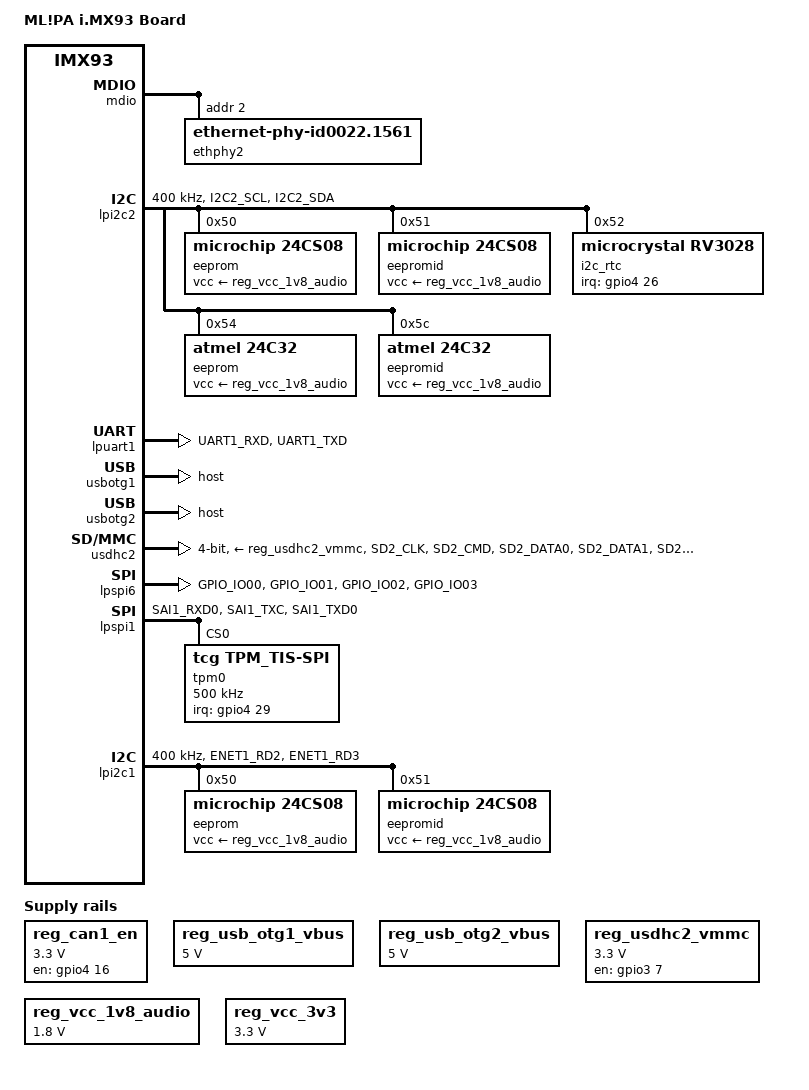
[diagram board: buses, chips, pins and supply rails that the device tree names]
// SPDX-License-Identifier: (GPL-2.0+ OR MIT)
/*
 * Copyright (C) 2023 PHYTEC Messtechnik GmbH
 * Author: Wadim Egorov <w.egorov@phytec.de>, Christoph Stoidner <c.stoidner@phytec.de>
 * Copyright (C) 2024 Mathieu Othacehe <m.othacehe@gmail.com>
 *
 * Product homepage:
 * phyBOARD-Segin carrier board is reused for the i.MX93 design.
 * https://www.phytec.eu/en/produkte/single-board-computer/phyboard-segin-imx6ul/
 */
// /dts-v0/;

#include "imx93-phycore-som.dtsi"

/{
	model = "ML!PA i.MX93 Board";
		compatible = "phytec,imx93-phyboard-segin",
		     "phytec,imx93-phycore-som", "fsl,imx93";

 	aliases {
 		rtc0 = &i2c_rtc; // override the default alias (&bbnsm_rtc)
 		rtc1 = &bbnsm_rtc;
 	};

	chosen {
		stdout-path = &lpuart1;
	};

	/* M-R-SN65HVD234.A0 */
	reg_can1_en: regulator-can1 {
		compatible = "regulator-fixed";
		gpio = <&gpio4 16 GPIO_ACTIVE_HIGH>;
		enable-active-high;
		pinctrl-names = "default";
		pinctrl-0 = <&pinctrl_flexcan1_en>;
		regulator-max-microvolt = <3300000>;
		regulator-min-microvolt = <3300000>;
		regulator-name = "CAN1_EN";
	};
	reg_usb_otg1_vbus: regulator-usb-otg1-vbus {
		compatible = "regulator-fixed";
		regulator-name = "USB_OTG1_VBUS";
		regulator-min-microvolt = <5000000>;
		regulator-max-microvolt = <5000000>;
		regulator-always-on;
	};

	reg_usb_otg2_vbus: regulator-usb-otg2-vbus {
		compatible = "regulator-fixed";
		regulator-name = "USB_OTG2_VBUS";
		regulator-min-microvolt = <5000000>;
		regulator-max-microvolt = <5000000>;
		regulator-always-on;
	};
	reg_usdhc2_vmmc: regulator-usdhc2 {
		compatible = "regulator-fixed";
		gpio = <&gpio3 7 GPIO_ACTIVE_HIGH>;
		enable-active-high;
		pinctrl-names = "default";
		pinctrl-0 = <&pinctrl_reg_usdhc2_vmmc>;
		regulator-max-microvolt = <3300000>;
		regulator-min-microvolt = <3300000>;
		regulator-name = "VCC_SD";
	};

	reg_vcc_1v8_audio: regulator-vcc1v8-audio {
		compatible = "regulator-fixed";
		regulator-max-microvolt = <1800000>;
		regulator-min-microvolt = <1800000>;
		regulator-name = "VCC1V8_AUDIO";
	};

	reg_vcc_3v3: regulator-vcc-3v3 {
		compatible = "regulator-fixed";
		regulator-max-microvolt = <3300000>;
		regulator-min-microvolt = <3300000>;
		regulator-name = "VCC3V3";
	};

};

/* Ethernet */
&ethphy1 {
	ti,leds-polarity = <0>;
};

&mdio {
	ethphy2: ethernet-phy@2 {
		compatible = "ethernet-phy-id0022.1561";
		reg = <2>;
		clocks = <&clk IMX93_CLK_ENET_REF_PHY>;
		clock-names = "rmii-ref";
		micrel,led-mode = <1>;
	};
};
&lpi2c2 {
	clock-frequency = <400000>;
	pinctrl-names = "default";
	pinctrl-0 = <&pinctrl_lpi2c2>;
	#address-cells = <1>;
	#size-cells = <0>;
	status = "okay";

	/* EEPROM */
	eeprom@50 {
	compatible = "microchip,24cs08", "atmel,24cs08";
	reg = <0x50>;
	vcc-supply = <&reg_vcc_1v8_audio>;
	};

	/* EEPROM ID page */
	eepromid@51 {
	compatible = "microchip,24cs08", "atmel,24cs08";
	reg = <0x51>;
	vcc-supply = <&reg_vcc_1v8_audio>;
	};

	i2c_rtc: rtc@52 {
		compatible = "microcrystal,rv3028";
		reg = <0x52>;
		pinctrl-names = "default";
		pinctrl-0 = <&pinctrl_rtc>;
		interrupt-parent = <&gpio4>;
		interrupts = <26 IRQ_TYPE_LEVEL_LOW>;
	};

	/* EEPROM */
	eeprom@54 {
		compatible = "atmel,24c32";
		reg = <0x54>;
		pagesize = <32>;
		vcc-supply = <&reg_vcc_1v8_audio>;
	};

	/* EEPROM ID page */
	eepromid@5c {
		compatible = "atmel,24c32";
		reg = <0x5c>;
		pagesize = <32>;
		size = <32>;
		vcc-supply = <&reg_vcc_1v8_audio>;
	};
};

/* Console */
&lpuart1 {
	pinctrl-names = "default";
	pinctrl-0 = <&pinctrl_uart1>;
	status = "okay";
};

/* USB  */
&usbphynop1 {
	vbus-supply = <&reg_usb_otg1_vbus>;
};

&usbphynop2 {
	vbus-supply = <&reg_usb_otg2_vbus>;
};

&usbotg1 {
	disable-over-current;
	dr_mode = "host";
	status = "okay";
};

&usbotg2 {
	disable-over-current;
	dr_mode = "host";
	status = "okay";
};

/* SD-Card */
&usdhc2 {
	pinctrl-names = "default", "state_100mhz", "state_200mhz";
	pinctrl-0 = <&pinctrl_usdhc2_default>, <&pinctrl_usdhc2_cd>;
	pinctrl-1 = <&pinctrl_usdhc2_100mhz>, <&pinctrl_usdhc2_cd>;
	pinctrl-2 = <&pinctrl_usdhc2_200mhz>, <&pinctrl_usdhc2_cd>;
	bus-width = <4>;
	cd-gpios = <&gpio3 0 GPIO_ACTIVE_LOW>;
	disable-wp;
	no-mmc;
	no-sdio;
	vmmc-supply = <&reg_usdhc2_vmmc>;
	status = "okay";
};

/* SPI6 */
&lpspi6 {
	pinctrl-names = "default";
	pinctrl-0 = <&pinctrl_lpspi6>;
	cs-gpios = <&gpio2 0 GPIO_ACTIVE_LOW>;
	status = "okay";
};


/* DT arrays cannot be extended. If a board extends the LPSPI1 bus, it needs to 
 * re-define 'cs-gpios' and 'num-chipselects'. We define these as macros to avoid
 * copy-paste. */
#define IMX93_MLPA_LPSPI1_NUM_CHIPSELECTS	1
#define IMX93_MLPA_LPSPI1_CS_GPIOS		&gpio1 11 0

&lpspi1 {
	#address-cells = <1>;
	#size-cells = <0>;
	pinctrl-names = "default";
	pinctrl-0 = <&pinctrl_lpspi1>;
	cs-gpios = <IMX93_MLPA_LPSPI1_CS_GPIOS>; 	 
	status = "okay";
	num-chipselects = <IMX93_MLPA_LPSPI1_NUM_CHIPSELECTS>;
	/* TPM */
	tpm0: tpm@0 {
		compatible = "tcg,tpm_tis-spi","infineon,slb9670";
		reg = <0>;
		spi-max-frequency = <500000>;
		interrupts = <29 IRQ_TYPE_LEVEL_LOW>;
		interrupt-parent = <&gpio4>;
		pinctrl-names = "default";
		pinctrl-0 = <&pinctrl_tpm>;
		status = "okay";
	};
};

&lpi2c1 {
	clock-frequency = <400000>;
	pinctrl-names = "default";
	pinctrl-0 = <&pinctrl_lpi2c1>;
	#address-cells = <1>;
	#size-cells = <0>;
	status = "okay";

	/* EEPROM */
	eeprom@50 {
	compatible = "microchip,24cs08", "atmel,24cs08";
	reg = <0x50>;
	vcc-supply = <&reg_vcc_1v8_audio>;
	};

	/* EEPROM ID page */
	eepromid@51 {
	compatible = "microchip,24cs08", "atmel,24cs08";
	reg = <0x51>;
	vcc-supply = <&reg_vcc_1v8_audio>;
	};
};

&iomuxc {

	pinctrl_lpspi6: lpspi6grp {
		fsl,pins = <
			/* MX93_PAD_GPIO_IO08__GPIO2_IO08		0x51e
			MX93_PAD_GPIO_IO09__GPIO2_IO09		0x51e
			MX93_PAD_GPIO_IO10__GPIO2_IO10		0x51e
			MX93_PAD_SD3_DATA2__GPIO3_IO24		0x51e
			MX93_PAD_SD3_DATA3__GPIO3_IO25		0x51e */
			MX93_PAD_GPIO_IO00__GPIO2_IO00		0x386
			MX93_PAD_GPIO_IO01__LPSPI6_SIN		0x3fe
			MX93_PAD_GPIO_IO02__LPSPI6_SOUT		0x386
			MX93_PAD_GPIO_IO03__LPSPI6_SCK		0x386
		>;
	};
	pinctrl_lpi2c1: lpi2c1grp {
		fsl,pins = <
			MX93_PAD_ENET1_RD2__ENET_QOS_RGMII_RD2			0x40000b9e
			MX93_PAD_ENET1_RD3__ENET_QOS_RGMII_RD3			0x40000b9e
		>;
	};
	pinctrl_lpspi1: lpspi1grp {
		fsl,pins = <
			MX93_PAD_SAI1_RXD0__LPSPI1_SOUT			0x51e
			MX93_PAD_SAI1_TXC__LPSPI1_SIN			0x51e
			MX93_PAD_SAI1_TXD0__LPSPI1_SCK			0x51e
		>;
	};

	pinctrl_tpm: tpmgrp {
		fsl,pins = <
			MX93_PAD_CCM_CLKO4__GPIO4_IO29		0x57e
		>;
	};

	pinctrl_lpi2c2: lpi2c2grp {
		fsl,pins = <
			MX93_PAD_I2C2_SCL__LPI2C2_SCL		0x40000b9e
			MX93_PAD_I2C2_SDA__LPI2C2_SDA		0x40000b9e
		>;
	};

	pinctrl_lpi2c2_gpio: lpi2c2gpiogrp {
		fsl,pins = <
			MX93_PAD_I2C2_SCL__GPIO1_IO02		0x31e
			MX93_PAD_I2C2_SDA__GPIO1_IO03		0x31e
		>;
	};

	pinctrl_reg_usdhc2_vmmc: regusdhc2vmmcgrp {
		fsl,pins = <
			MX93_PAD_SD2_RESET_B__GPIO3_IO07	0x31e
		>;
	};

	pinctrl_rtc: rtcgrp {
		fsl,pins = <
			MX93_PAD_ENET2_RD2__GPIO4_IO26		0x31e
		>;
	};

	pinctrl_flexcan1: flexcan1grp {
		fsl,pins = <
			MX93_PAD_PDM_BIT_STREAM0__CAN1_RX	0x139e
			MX93_PAD_PDM_CLK__CAN1_TX		0x139e
		>;
	};

	pinctrl_flexcan1_en: flexcan1engrp {
		fsl,pins = <
			MX93_PAD_ENET2_TD3__GPIO4_IO16		0x31e
		>;
	};

	pinctrl_uart1: uart1grp {
		fsl,pins = <
			MX93_PAD_UART1_RXD__LPUART1_RX		0x31e
			MX93_PAD_UART1_TXD__LPUART1_TX		0x30e
		>;
	};

	pinctrl_usdhc2_cd: usdhc2cdgrp {
		fsl,pins = <
			MX93_PAD_SD2_CD_B__GPIO3_IO00		0x31e
		>;
	};

	/* need to config the SION for data and cmd pad, refer to ERR052021 */
	pinctrl_usdhc2_default: usdhc2grp {
		fsl,pins = <
			MX93_PAD_SD2_CLK__USDHC2_CLK		0x159e
			MX93_PAD_SD2_CMD__USDHC2_CMD		0x4000139e
			MX93_PAD_SD2_DATA0__USDHC2_DATA0	0x4000138e
			MX93_PAD_SD2_DATA1__USDHC2_DATA1	0x4000138e
			MX93_PAD_SD2_DATA2__USDHC2_DATA2	0x4000138e
			MX93_PAD_SD2_DATA3__USDHC2_DATA3	0x4000139e
			MX93_PAD_SD2_VSELECT__USDHC2_VSELECT	0x51e
		>;
	};

	/* need to config the SION for data and cmd pad, refer to ERR052021 */
	pinctrl_usdhc2_100mhz: usdhc2-100mhzgrp {
		fsl,pins = <
			MX93_PAD_SD2_CLK__USDHC2_CLK		0x159e
			MX93_PAD_SD2_CMD__USDHC2_CMD		0x4000139e
			MX93_PAD_SD2_DATA0__USDHC2_DATA0	0x4000138e
			MX93_PAD_SD2_DATA1__USDHC2_DATA1	0x4000138e
			MX93_PAD_SD2_DATA2__USDHC2_DATA2	0x4000139e
			MX93_PAD_SD2_DATA3__USDHC2_DATA3	0x4000139e
			MX93_PAD_SD2_VSELECT__USDHC2_VSELECT	0x51e
		>;
	};

	/* need to config the SION for data and cmd pad, refer to ERR052021 */
	pinctrl_usdhc2_200mhz: usdhc2-200mhzgrp {
		fsl,pins = <
			MX93_PAD_SD2_CLK__USDHC2_CLK		0x158e
			MX93_PAD_SD2_CMD__USDHC2_CMD		0x4000139e
			MX93_PAD_SD2_DATA0__USDHC2_DATA0	0x4000139e
			MX93_PAD_SD2_DATA1__USDHC2_DATA1	0x4000139e
			MX93_PAD_SD2_DATA2__USDHC2_DATA2	0x4000139e
			MX93_PAD_SD2_DATA3__USDHC2_DATA3	0x4000139e
			MX93_PAD_SD2_VSELECT__USDHC2_VSELECT	0x51e
		>;
	};
};
